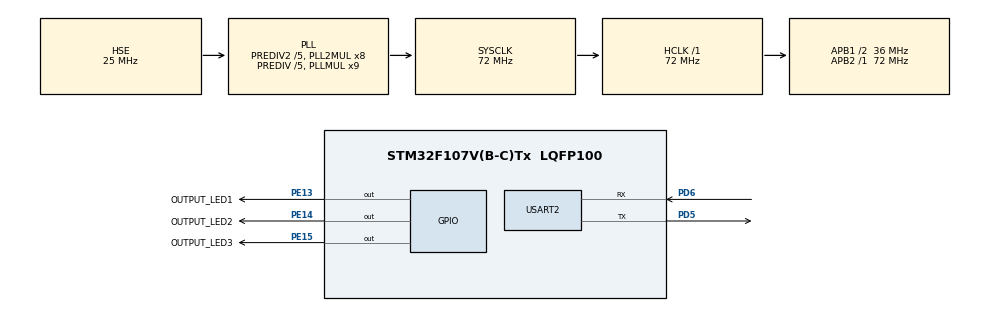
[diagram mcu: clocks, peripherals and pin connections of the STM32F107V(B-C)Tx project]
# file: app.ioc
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Mcu.Family=STM32F1
Mcu.Name=STM32F107V(B-C)Tx
Mcu.Package=LQFP100
NVIC.PriorityGroup=NVIC_PRIORITYGROUP_4
NVIC.USART2_IRQn=true\:0\:0\:false\:false\:true\:true
OSC_IN.Mode=HSE-External-Oscillator
OSC_IN.Signal=RCC_OSC_IN
OSC_OUT.Mode=HSE-External-Oscillator
OSC_OUT.Signal=RCC_OSC_OUT
PA13.Mode=Serial_Wire
PA13.Signal=SYS_JTMS-SWDIO
PA14.Mode=Serial_Wire
PA14.Signal=SYS_JTCK-SWCLK
PD5.Mode=Asynchronous
PD5.Signal=USART2_TX
PD6.Mode=Asynchronous
PD6.Signal=USART2_RX
PE13.GPIO_Label=OUTPUT_LED1
PE13.GPIO_Speed=GPIO_SPEED_FREQ_HIGH
PE13.PinState=GPIO_PIN_SET
PE13.Signal=GPIO_Output
PE14.GPIO_Label=OUTPUT_LED2
PE14.GPIO_Speed=GPIO_SPEED_FREQ_HIGH
PE14.PinState=GPIO_PIN_SET
PE14.Signal=GPIO_Output
PE15.GPIO_Label=OUTPUT_LED3
PE15.GPIO_Speed=GPIO_SPEED_FREQ_HIGH
PE15.PinState=GPIO_PIN_SET
PE15.Signal=GPIO_Output
ProjectManager.HeapSize=0x200
ProjectManager.StackSize=0x400
ProjectManager.TargetToolchain=MDK-ARM V5
RCC.AHBFreq_Value=72000000
RCC.APB1CLKDivider=RCC_HCLK_DIV2
RCC.APB1Freq_Value=36000000
RCC.APB1TimFreq_Value=72000000
RCC.APB2Freq_Value=72000000
RCC.APB2TimFreq_Value=72000000
RCC.HCLKFreq_Value=72000000
RCC.HSEDivPLL=RCC_HSE_PREDIV_DIV5
RCC.HSE_VALUE=25000000
RCC.PLL3Mul=RCC_PLLI2S_MUL10
RCC.PLLMUL=RCC_PLL_MUL9
RCC.PLLSourceVirtual=RCC_PLLSOURCE_HSE
RCC.Prediv1Source=RCC_PREDIV1_SOURCE_PLL2
RCC.Prediv2=RCC_HSE_PREDIV2_DIV5
RCC.SYSCLKFreq_VALUE=72000000
RCC.SYSCLKSource=RCC_SYSCLKSOURCE_PLLCLK
RCC.USBFreq_Value=48000000
USART2.VirtualMode=VM_ASYNC
board=app

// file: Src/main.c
/**
  ******************************************************************************
  * File Name          : main.c
  * Description        : Main program body
  ******************************************************************************
  ** This notice applies to any and all portions of this file
  * that are not between comment pairs USER CODE BEGIN and
  * USER CODE END. Other portions of this file, whether
  * inserted by the user or by software development tools
  * are owned by their respective copyright owners.
  *
  * COPYRIGHT(c) 2018 STMicroelectronics
  *
  * Redistribution and use in source and binary forms, with or without modification,
  * are permitted provided that the following conditions are met:
  *   1. Redistributions of source code must retain the above copyright notice,
  *      this list of conditions and the following disclaimer.
  *   2. Redistributions in binary form must reproduce the above copyright notice,
  *      this list of conditions and the following disclaimer in the documentation
  *      and/or other materials provided with the distribution.
  *   3. Neither the name of STMicroelectronics nor the names of its contributors
  *      may be used to endorse or promote products derived from this software
  *      without specific prior written permission.
  *
  * THIS SOFTWARE IS PROVIDED BY THE COPYRIGHT HOLDERS AND CONTRIBUTORS "AS IS"
  * AND ANY EXPRESS OR IMPLIED WARRANTIES, INCLUDING, BUT NOT LIMITED TO, THE
  * IMPLIED WARRANTIES OF MERCHANTABILITY AND FITNESS FOR A PARTICULAR PURPOSE ARE
  * DISCLAIMED. IN NO EVENT SHALL THE COPYRIGHT HOLDER OR CONTRIBUTORS BE LIABLE
  * FOR ANY DIRECT, INDIRECT, INCIDENTAL, SPECIAL, EXEMPLARY, OR CONSEQUENTIAL
  * DAMAGES (INCLUDING, BUT NOT LIMITED TO, PROCUREMENT OF SUBSTITUTE GOODS OR
  * SERVICES; LOSS OF USE, DATA, OR PROFITS; OR BUSINESS INTERRUPTION) HOWEVER
  * CAUSED AND ON ANY THEORY OF LIABILITY, WHETHER IN CONTRACT, STRICT LIABILITY,
  * OR TORT (INCLUDING NEGLIGENCE OR OTHERWISE) ARISING IN ANY WAY OUT OF THE USE
  * OF THIS SOFTWARE, EVEN IF ADVISED OF THE POSSIBILITY OF SUCH DAMAGE.
  *
  ******************************************************************************
  */

#include "main.h"
#include "stm32f1xx_hal.h"

/* USER CODE BEGIN Includes */
#include "user_io.h"
#include "user_flash.h"
/* USER CODE END Includes */

UART_HandleTypeDef huart2;

/* USER CODE BEGIN PV */
/* Private variables ---------------------------------------------------------*/

/* USER CODE END PV */

void SystemClock_Config(void);
static void MX_GPIO_Init(void);
static void MX_USART2_UART_Init(void);

/* USER CODE BEGIN PFP */
/* Private function prototypes -----------------------------------------------*/

/* USER CODE END PFP */

int main(void)
{

  /* USER CODE BEGIN 1 */
	SCB->VTOR = USER_FLASH_APP_BASE;
  /* USER CODE END 1 */

  /* MCU Configuration----------------------------------------------------------*/

  /* Reset of all peripherals, Initializes the Flash interface and the Systick. */
  HAL_Init();

  /* Configure the system clock */
  SystemClock_Config();

  /* Initialize all configured peripherals */
  MX_GPIO_Init();
  MX_USART2_UART_Init();

  /* Infinite loop */
  while (1)
  {

  /* USER CODE BEGIN 3 */
    LED1_ON();
    LED2_OFF();
    LED3_OFF();
	HAL_Delay(500);
	LED1_OFF();
    LED2_ON();
    LED3_OFF();
	HAL_Delay(500);
	LED1_OFF();
    LED2_OFF();
    LED3_ON();
	HAL_Delay(500);
  }
  /* USER CODE END 3 */

}

/** System Clock Configuration
*/
void SystemClock_Config(void)
{

  RCC_OscInitTypeDef RCC_OscInitStruct;
  RCC_ClkInitTypeDef RCC_ClkInitStruct;

    /**Initializes the CPU, AHB and APB busses clocks
    */
  RCC_OscInitStruct.OscillatorType = RCC_OSCILLATORTYPE_HSE;
  RCC_OscInitStruct.HSEState = RCC_HSE_ON;
  RCC_OscInitStruct.HSEPredivValue = RCC_HSE_PREDIV_DIV5;
  RCC_OscInitStruct.HSIState = RCC_HSI_ON;
  RCC_OscInitStruct.Prediv1Source = RCC_PREDIV1_SOURCE_PLL2;
  RCC_OscInitStruct.PLL.PLLState = RCC_PLL_ON;
  RCC_OscInitStruct.PLL.PLLSource = RCC_PLLSOURCE_HSE;
  RCC_OscInitStruct.PLL.PLLMUL = RCC_PLL_MUL9;
  RCC_OscInitStruct.PLL2.PLL2State = RCC_PLL2_ON;
  RCC_OscInitStruct.PLL2.PLL2MUL = RCC_PLL2_MUL8;
  RCC_OscInitStruct.PLL2.HSEPrediv2Value = RCC_HSE_PREDIV2_DIV5;
  if (HAL_RCC_OscConfig(&RCC_OscInitStruct) != HAL_OK)
  {
    _Error_Handler(__FILE__, __LINE__);
  }

    /**Initializes the CPU, AHB and APB busses clocks
    */
  RCC_ClkInitStruct.ClockType = RCC_CLOCKTYPE_HCLK|RCC_CLOCKTYPE_SYSCLK
                              |RCC_CLOCKTYPE_PCLK1|RCC_CLOCKTYPE_PCLK2;
  RCC_ClkInitStruct.SYSCLKSource = RCC_SYSCLKSOURCE_PLLCLK;
  RCC_ClkInitStruct.AHBCLKDivider = RCC_SYSCLK_DIV1;
  RCC_ClkInitStruct.APB1CLKDivider = RCC_HCLK_DIV2;
  RCC_ClkInitStruct.APB2CLKDivider = RCC_HCLK_DIV1;

  if (HAL_RCC_ClockConfig(&RCC_ClkInitStruct, FLASH_LATENCY_2) != HAL_OK)
  {
    _Error_Handler(__FILE__, __LINE__);
  }

    /**Configure the Systick interrupt time
    */
  HAL_SYSTICK_Config(HAL_RCC_GetHCLKFreq()/1000);

    /**Configure the Systick
    */
  HAL_SYSTICK_CLKSourceConfig(SYSTICK_CLKSOURCE_HCLK);

    /**Configure the Systick interrupt time
    */
  __HAL_RCC_PLLI2S_ENABLE();

  /* SysTick_IRQn interrupt configuration */
  HAL_NVIC_SetPriority(SysTick_IRQn, 0, 0);
}

/* USART2 init function */
static void MX_USART2_UART_Init(void)
{

  huart2.Instance = USART2;
  huart2.Init.BaudRate = 115200;
  huart2.Init.WordLength = UART_WORDLENGTH_8B;
  huart2.Init.StopBits = UART_STOPBITS_1;
  huart2.Init.Parity = UART_PARITY_NONE;
  huart2.Init.Mode = UART_MODE_TX_RX;
  huart2.Init.HwFlowCtl = UART_HWCONTROL_NONE;
  huart2.Init.OverSampling = UART_OVERSAMPLING_16;
  if (HAL_UART_Init(&huart2) != HAL_OK)
  {
    _Error_Handler(__FILE__, __LINE__);
  }

}

/** Configure pins as
        * Analog
        * Input
        * Output
        * EVENT_OUT
        * EXTI
*/
static void MX_GPIO_Init(void)
{

  GPIO_InitTypeDef GPIO_InitStruct;

  /* GPIO Ports Clock Enable */
  __HAL_RCC_GPIOE_CLK_ENABLE();
  __HAL_RCC_GPIOA_CLK_ENABLE();
  __HAL_RCC_GPIOD_CLK_ENABLE();

  /*Configure GPIO pin Output Level */
  HAL_GPIO_WritePin(GPIOE, OUTPUT_LED1_Pin|OUTPUT_LED2_Pin|OUTPUT_LED3_Pin, GPIO_PIN_SET);

  /*Configure GPIO pins : OUTPUT_LED1_Pin OUTPUT_LED2_Pin OUTPUT_LED3_Pin */
  GPIO_InitStruct.Pin = OUTPUT_LED1_Pin|OUTPUT_LED2_Pin|OUTPUT_LED3_Pin;
  GPIO_InitStruct.Mode = GPIO_MODE_OUTPUT_PP;
  GPIO_InitStruct.Speed = GPIO_SPEED_FREQ_HIGH;
  HAL_GPIO_Init(GPIOE, &GPIO_InitStruct);

}

void _Error_Handler(char * file, int line)
{
  while(1)
  {
  }
}

/************************ (C) COPYRIGHT STMicroelectronics *****END OF FILE****/
